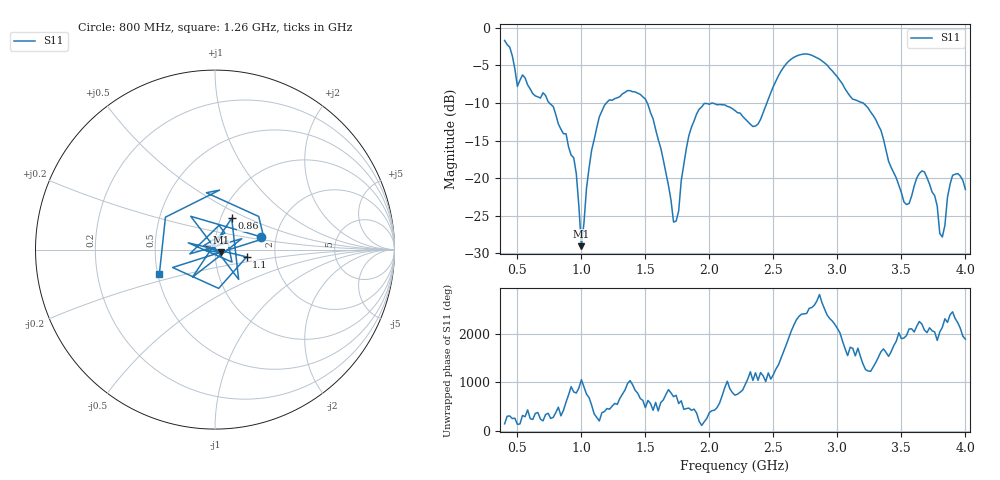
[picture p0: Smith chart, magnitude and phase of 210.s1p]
!Created with skrf (http://scikit-rf.org).
# Hz S RI R 50.0
!freq ReS11 ImS11
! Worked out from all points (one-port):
!   181 points, 400 MHz to 4 GHz, reference 50 ohm
!   lowest |S11| = -29.0 dB at 1 GHz (marker M1), VSWR 1.07, Z = 53.2 - j1.7 ohm
!   |S11| at or under -10 dB: 751 MHz to 1.194 GHz (443.5 MHz wide, 45.6 % of centre); 1.515 GHz to 2.018 GHz (503.6 MHz wide, 28.5 % of centre); 3.202 GHz to end of sweep (the widest 3 of 4)
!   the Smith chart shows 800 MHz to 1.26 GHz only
!   S11 on the Smith chart (normalised r, x): 800 MHz: 1.66, +0.26; 860 MHz: 1.13, +0.41; 1.1 GHz: 1.42, -0.12; 1.26 GHz: 0.51, -0.16
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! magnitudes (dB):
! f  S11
! 400 MHz  -1.7
! 500 MHz  -7.8
! 540 MHz  -6.3
! 800 MHz  -11.5
! 860 MHz  -14.1
! 960 MHz  -19.4
! 1 GHz  -29.0
! 1.04 GHz  -21.3
! 1.1 GHz  -14.8
! 1.26 GHz  -9.4
! 1.3 GHz  -9.2
! 1.5 GHz  -9.5
! 1.62 GHz  -16.0
! 1.72 GHz  -25.8
! 1.76 GHz  -24.3
! 1.84 GHz  -14.3
! 1.92 GHz  -10.8
! 2.2 GHz  -11.0
! 2.38 GHz  -12.8
! 2.66 GHz  -3.9
! 2.86 GHz  -4.1
! 3.1 GHz  -9.1
! 3.3 GHz  -12.2
! 3.56 GHz  -23.4
! 3.68 GHz  -19.2
! 3.82 GHz  -27.8
! 3.9 GHz  -19.6
! 4 GHz  -21.5
